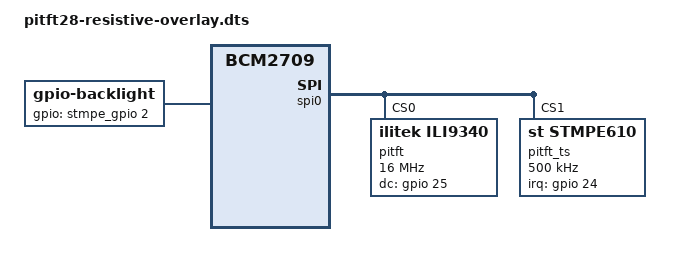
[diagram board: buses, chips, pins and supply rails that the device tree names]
/*
 * Device Tree overlay for pitft resistive by Adafruit
 *
 */

/dts-v1/;
/plugin/;

/ {
	compatible = "brcm,bcm2835", "brcm,bcm2708", "brcm,bcm2709";

	fragment@0 {
		target = <&spi0>;
		__overlay__ {
			status = "okay";

			spidev@0{
				status = "disabled";
			};

			spidev@1{
				status = "disabled";
			};
		};
	};

	fragment@1 {
		target = <&gpio>;
		__overlay__ {
			pitft_pins: pitft_pins {
				brcm,pins = <24 25>;
				brcm,function = <0 1>; /* in out */
				brcm,pull = <2 0>; /* pullup none */
			};
		};
	};

	fragment@2 {
		target = <&spi0>;
		__overlay__ {
			/* needed to avoid dtc warning */
			#address-cells = <1>;
			#size-cells = <0>;

			pitft: pitft@0{
				compatible = "ilitek,ili9340";
				reg = <0>;
				pinctrl-names = "default";
				pinctrl-0 = <&pitft_pins>;

				spi-max-frequency = <16000000>;
				rotate = <90>;
				fps = <25>;
				bgr;
				buswidth = <8>;
				dc-gpios = <&gpio 25 0>;
				debug = <0>;
			};

			pitft_ts@1 {
				#address-cells = <1>;
				#size-cells = <0>;
				compatible = "st,stmpe610";
				reg = <1>;

				spi-max-frequency = <500000>;
				irq-gpio = <&gpio 24 0x2>; /* IRQF_TRIGGER_FALLING */
				interrupts = <24 2>; /* high-to-low edge triggered */
				interrupt-parent = <&gpio>;
				interrupt-controller;

				stmpe_touchscreen {
					compatible = "st,stmpe-ts";
					st,sample-time = <4>;
					st,mod-12b = <1>;
					st,ref-sel = <0>;
					st,adc-freq = <2>;
					st,ave-ctrl = <3>;
					st,touch-det-delay = <4>;
					st,settling = <2>;
					st,fraction-z = <7>;
					st,i-drive = <0>;
				};

				stmpe_gpio: stmpe_gpio {
					#gpio-cells = <2>;
					compatible = "st,stmpe-gpio";
					/*
					 * only GPIO2 is wired/available
					 * and it is wired to the backlight
					 */
					st,norequest-mask = <0x7b>;
				};
			};
		};
	};

	fragment@3 {
		target-path = "/soc";
		__overlay__ {
			backlight {
				compatible = "gpio-backlight";
				gpios = <&stmpe_gpio 2 0>;
				default-on;
			};
		};
	};

	__overrides__ {
		speed =   <&pitft>,"spi-max-frequency:0";
		rotate =  <&pitft>,"rotate:0";
		fps =     <&pitft>,"fps:0";
		debug =   <&pitft>,"debug:0";
	};
};
